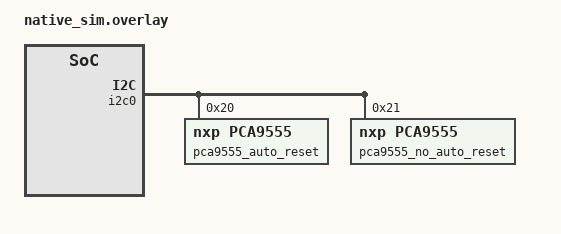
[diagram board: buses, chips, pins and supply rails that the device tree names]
// SPDX-License-Identifier: Apache-2.0
// Copyright (c) 2026 The Zephyr Project Contributors

&i2c0 {
	pca9555_auto_reset: gpio@20 {
		compatible = "nxp,pca9555";
		reg = <0x20>;
		gpio-controller;
		#gpio-cells = <2>;
		ngpios = <16>;
	};

	pca9555_no_auto_reset: gpio@21 {
		compatible = "nxp,pca9555";
		reg = <0x21>;
		gpio-controller;
		#gpio-cells = <2>;
		ngpios = <16>;
		no-auto-reset;
	};
};
